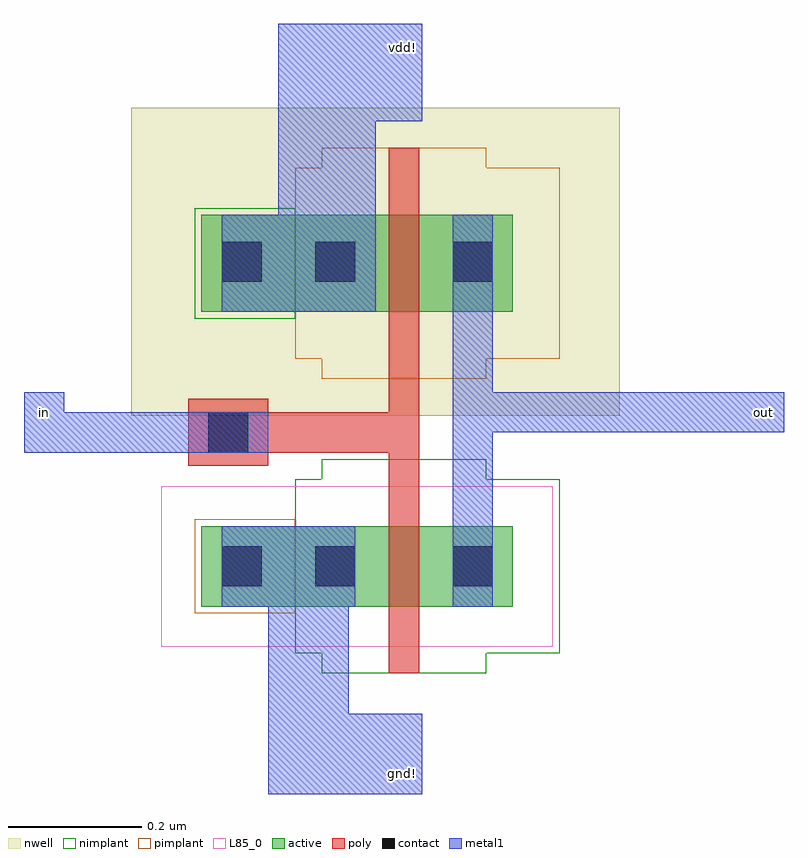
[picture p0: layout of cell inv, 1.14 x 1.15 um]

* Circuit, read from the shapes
.subckt inv gnd! in out vdd!
M1 out in gnd! gnd! nfet w=0.12u l=0.045u
M2 out in vdd! vdd! pfet w=0.145u l=0.045u
.ends

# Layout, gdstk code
import gdstk
lib = gdstk.Library(unit=1e-6, precision=5e-10)
def R(c, l, rs):  # rectangles x0, y0, x1, y1
    for r in rs: c.add(gdstk.rectangle(r[:2], r[2:], *l))
active = (1, 0)
nwell = (2, 0)
poly = (3, 0)
nimplant = (4, 0)
pimplant = (5, 0)
contact = (6, 0)
metal1 = (7, 0)
L85_0 = (85, 0)

pmos1v_cdns_791461621820 = lib.new_cell('pmos1v_CDNS_791461621820')
R(pmos1v_cdns_791461621820, active, [(-0.28,0,0,0.145), (0,0,0.045,0.145), (0.045,0,0.185,0.145)])
R(pmos1v_cdns_791461621820, nwell, [(-0.34,-0.06,0.245,0.205)])
R(pmos1v_cdns_791461621820, poly, [(0,-0.1,0.045,-0.05), (0,-0.05,0.045,0), (0,0,0.045,0.145), (0,0.145,0.045,0.195), (0,0.195,0.045,0.245)])
R(pmos1v_cdns_791461621820, nimplant, [(-0.29,-0.01,-0.14,0.155)])
R(pmos1v_cdns_791461621820, pimplant, [(-0.1,-0.1,0.145,0.245), (-0.14,-0.07,0.255,0.215)])
R(pmos1v_cdns_791461621820, contact, [(-0.25,0.045,-0.19,0.105), (-0.11,0.045,-0.05,0.105), (0.095,0.045,0.155,0.105)])
R(pmos1v_cdns_791461621820, metal1, [(-0.25,0,-0.05,0.145), (-0.25,0,-0.05,0.145), (0.095,0,0.155,0.145)])
pmos1v_cdns_791461621820.add(gdstk.Label('D_drain_1', (0.115,0.0725), layer=1, texttype=0))
pmos1v_cdns_791461621820.add(gdstk.Label('S_source_0', (-0.14,0.0725), layer=1, texttype=0))
pmos1v_cdns_791461621820.add(gdstk.Label('G_gate_1', (0.0225,-0.075), layer=3, texttype=0))
pmos1v_cdns_791461621820.add(gdstk.Label('G_gate_1', (0.0225,0.22), layer=3, texttype=0))
pmos1v_cdns_791461621820.add(gdstk.Label('B', (-0.15,0.0725), layer=7, texttype=0))
pmos1v_cdns_791461621820.add(gdstk.Label('D_drain_1', (0.125,0.0725), layer=7, texttype=0))
pmos1v_cdns_791461621820.add(gdstk.Label('S_source_0', (-0.15,0.0725), layer=7, texttype=0))
pmos1v_cdns_791461621820.add(gdstk.Label('B', (-0.0475,0.0725), layer=2, texttype=0))

nmos1v_cdns_791461621821 = lib.new_cell('nmos1v_CDNS_791461621821')
R(nmos1v_cdns_791461621821, active, [(-0.28,0,0,0.12), (0,0,0.045,0.12), (0.045,0,0.185,0.12)])
R(nmos1v_cdns_791461621821, poly, [(0,-0.1,0.045,-0.05), (0,-0.05,0.045,0), (0,0,0.045,0.12), (0,0.12,0.045,0.17), (0,0.17,0.045,0.22)])
R(nmos1v_cdns_791461621821, nimplant, [(-0.1,-0.1,0.145,0.22), (-0.14,-0.07,0.255,0.19)])
R(nmos1v_cdns_791461621821, pimplant, [(-0.29,-0.01,-0.14,0.13)])
R(nmos1v_cdns_791461621821, contact, [(-0.25,0.03,-0.19,0.09), (-0.11,0.03,-0.05,0.09), (0.095,0.03,0.155,0.09)])
R(nmos1v_cdns_791461621821, metal1, [(-0.25,0,-0.05,0.12), (-0.25,0,-0.05,0.12), (0.095,0,0.155,0.12)])
R(nmos1v_cdns_791461621821, L85_0, [(-0.34,-0.06,0.245,0.18)])
nmos1v_cdns_791461621821.add(gdstk.Label('D_drain_1', (0.115,0.06), layer=1, texttype=0))
nmos1v_cdns_791461621821.add(gdstk.Label('S_source_0', (-0.14,0.06), layer=1, texttype=0))
nmos1v_cdns_791461621821.add(gdstk.Label('G_gate_1', (0.0225,-0.075), layer=3, texttype=0))
nmos1v_cdns_791461621821.add(gdstk.Label('G_gate_1', (0.0225,0.195), layer=3, texttype=0))
nmos1v_cdns_791461621821.add(gdstk.Label('B', (-0.15,0.06), layer=7, texttype=0))
nmos1v_cdns_791461621821.add(gdstk.Label('D_drain_1', (0.125,0.06), layer=7, texttype=0))
nmos1v_cdns_791461621821.add(gdstk.Label('S_source_0', (-0.15,0.06), layer=7, texttype=0))
nmos1v_cdns_791461621821.add(gdstk.Label('B', (-0.0475,0.06), layer=85, texttype=0))

m1_po_cdns_791461621820 = lib.new_cell('M1_PO_CDNS_791461621820')
R(m1_po_cdns_791461621820, poly, [(-0.06,-0.05,0.06,0.05)])
R(m1_po_cdns_791461621820, contact, [(-0.03,-0.03,0.03,0.03)])
R(m1_po_cdns_791461621820, metal1, [(-0.06,-0.03,0.06,0.03)])

inv = lib.new_cell('inv')
R(inv, nwell, [(0.16,0.565,0.89,1.025)])
R(inv, metal1, [(0.535,0,0.595,0.06), (0,0.54,0.06,0.6), (1.075,0.54,1.135,0.6), (0.535,1.085,0.595,1.145)])
inv.add(gdstk.FlexPath([(0.5675,0.645),(0.5675,0.54)], 0.045, ends=(0, 0.03), simple_path=True, layer=3, datatype=0))  # poly
inv.add(gdstk.FlexPath([(0.305,0.54),(0.5675,0.54)], 0.06, ends=(0, 0.0225), simple_path=True, layer=3, datatype=0))  # poly
inv.add(gdstk.FlexPath([(0.5675,0.54),(0.5675,0.5)], 0.045, ends=(0.03, 0), simple_path=True, layer=3, datatype=0))  # poly
inv.add(gdstk.FlexPath([(0.425,0.06),(0.595,0.06)], 0.12, ends=(0.06, 0), simple_path=True, layer=7, datatype=0))  # metal1
inv.add(gdstk.FlexPath([(0.425,0.34),(0.425,0.06)], 0.12, ends="extended", simple_path=True, layer=7, datatype=0))  # metal1
inv.add(gdstk.FlexPath([(0.4525,1.0775),(0.595,1.0775)], 0.145, ends=(0.0725, 0), simple_path=True, layer=7, datatype=0))  # metal1
inv.add(gdstk.FlexPath([(0.4525,0.795),(0.4525,1.0775)], 0.145, ends=(0.075, 0.0725), simple_path=True, layer=7, datatype=0))  # metal1
inv.add(gdstk.FlexPath([(0.03,0.54),(0.305,0.54)], 0.06, ends=(0.03, 0), simple_path=True, layer=7, datatype=0))  # metal1
inv.add(gdstk.FlexPath([(1.105,0.57),(1.105,0.54)], 0.06, ends=(0.03, 0), simple_path=True, layer=7, datatype=0))  # metal1
inv.add(gdstk.FlexPath([(0.67,0.57),(1.105,0.57)], 0.06, ends="extended", simple_path=True, layer=7, datatype=0))  # metal1
inv.add(gdstk.FlexPath([(0.67,0.57),(0.67,0.795)], 0.06, ends="extended", simple_path=True, layer=7, datatype=0))  # metal1
inv.add(gdstk.FlexPath([(0.67,0.795),(0.7,0.795)], 0.06, ends=(0.03, 0), simple_path=True, layer=7, datatype=0))  # metal1
inv.add(gdstk.FlexPath([(0.67,0.34),(0.67,0.57)], 0.06, ends=(0, 0.03), simple_path=True, layer=7, datatype=0))  # metal1
inv.add(gdstk.Reference(pmos1v_cdns_791461621820, (0.545,0.72)))
inv.add(gdstk.Reference(nmos1v_cdns_791461621821, (0.545,0.28)))
inv.add(gdstk.Reference(m1_po_cdns_791461621820, (0.305,0.54)))
inv.add(gdstk.Label('vdd!', (0.565,1.115), layer=7, texttype=0))
inv.add(gdstk.Label('gnd!', (0.565,0.03), layer=7, texttype=0))
inv.add(gdstk.Label('out', (1.105,0.57), layer=7, texttype=0))
inv.add(gdstk.Label('in', (0.03,0.57), layer=7, texttype=0))

lib.write_gds('inv.gds')
